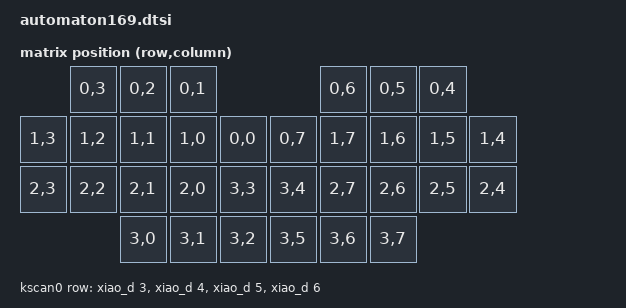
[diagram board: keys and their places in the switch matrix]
/*
 * Copyright (c) 2022 The ZMK Contributors
 *
 * SPDX-License-Identifier: MIT
 */

#include <dt-bindings/zmk/matrix_transform.h>

/ {
    chosen {
        zmk,kscan = &kscan0;
        zmk,matrix_transform = &default_transform;
        zmk,led-widgets-dev = &leds;
    };

    default_transform: keymap_transform_0 {
        compatible = "zmk,matrix-transform";
        columns = <8>;
        rows = <4>;


//             | SW01  | SW02  | SW03  |                   | SW03  | SW02  | SW01  |
//      | SW05 | SW06  | SW07  | SW08  | SW04  |   | SW04  | SW08  | SW07  | SW06  | SW05  | 
//      | SW09 | SW10  | SW11  | SW12  | SW13  |   | SW13  | SW12  | SW11  | SW10  | SW09  |
//                     | SW16  | SW15  | SW14  |   | SW14  | SW15  | SW16  |
        map = <
                RC(0,3) RC(0,2) RC(0,1)                    RC(0,6) RC(0,5) RC(0,4)
        RC(1,3) RC(1,2) RC(1,1) RC(1,0) RC(0,0)    RC(0,7) RC(1,7) RC(1,6) RC(1,5) RC(1,4)
        RC(2,3) RC(2,2) RC(2,1) RC(2,0) RC(3,3)    RC(3,4) RC(2,7) RC(2,6) RC(2,5) RC(2,4)
                        RC(3,0) RC(3,1) RC(3,2)    RC(3,5) RC(3,6) RC(3,7)         
        >;
    };


    kscan0: kscan_0 {
        compatible = "zmk,kscan-gpio-matrix";
        label = "KSCAN";
        
        diode-direction = "col2row"; 
        row-gpios
            = <&xiao_d 3 (GPIO_ACTIVE_HIGH | GPIO_PULL_DOWN)>
            , <&xiao_d 4 (GPIO_ACTIVE_HIGH | GPIO_PULL_DOWN)>
            , <&xiao_d 5 (GPIO_ACTIVE_HIGH | GPIO_PULL_DOWN)>
            , <&xiao_d 6 (GPIO_ACTIVE_HIGH | GPIO_PULL_DOWN)>
            ;
    };

    leds: leds {
        compatible = "pwm-leds";
        red_led: led_r {
            pwms = <&pwm0 2>;
            label = "Red LED";
        };
        green_led: led_g {
            pwms = <&pwm0 3>;
            label = "Green LED";
        };
        blue_led: led_b {
            pwms = <&pwm0 28>;
            label = "Blue LED";
        };
    };

    led-widgets {
        compatible = "zmk,led-widgets";
        boot {
            boot {
                priority = <100>;
                blue { len-ms = <100>; brightness = <0 0 50>; };
                off { len-ms = <100>; };
                blue2 { len-ms = <100>; brightness = <0 0 50>; };
            };
        };
        output {
            usb {
                arg = <0>;
                priority = <100>;
                stat { len-ms = <200>; brightness = <0 75 0>; };
            };
            ble {
                arg = <1>;
                priority = <100>;
                stat { len-ms = <200>; brightness = <0 0 100>; };
            };
        };
        profile {
            0 {
                arg = <0>;
                priority = <90>;
                head { len-ms = <50>; brightness = <0 0 50>; };
                off { len-ms = <150>; };
                tail { len-ms = <100>; brightness = <100 0 0>; };
            };
            1 {
                arg = <1>;
                priority = <90>;
                head { len-ms = <50>; brightness = <0 0 50>; };
                off { len-ms = <150>; };
                tail { len-ms = <100>; brightness = <0 100 0>; };
            };
            2 {
                arg = <2>;
                priority = <90>;
                head { len-ms = <50>; brightness = <0 0 50>; };
                off { len-ms = <150>; };
                tail { len-ms = <100>; brightness = <0 0 100>; };
            };
        };
    };


};

&pwm0 {
    status = "okay";
    ch0-pin = <2>; /* LED 0 */
    ch1-pin = <3>; /* LED 1 */
    ch2-pin = <28>; /* LED 2 */
};
